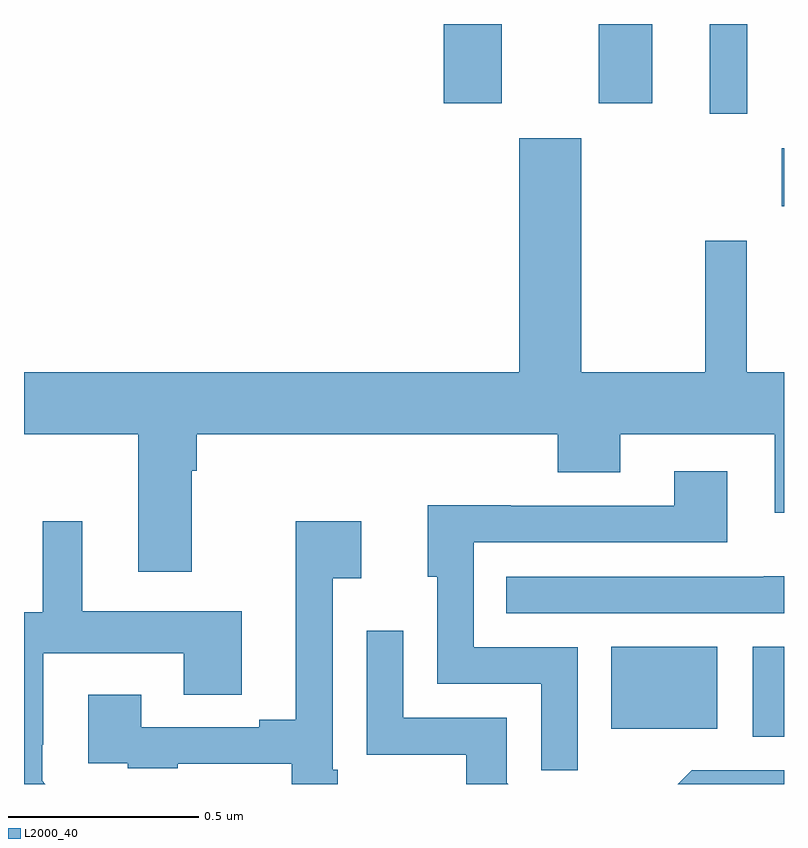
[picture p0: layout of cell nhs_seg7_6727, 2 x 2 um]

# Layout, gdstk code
import gdstk
lib = gdstk.Library(unit=1e-6, precision=1e-09)
def R(c, l, rs):  # rectangles x0, y0, x1, y1
    for r in rs: c.add(gdstk.rectangle(r[:2], r[2:], *l))
def P(c, l, *ps):  # polygons
    for p in ps: c.add(gdstk.Polygon(p, *l))
L2000_40 = (2000, 40)

nhs_seg7_6727 = lib.new_cell('nhs_seg7_6727')
R(nhs_seg7_6727, L2000_40, [(203.918,1029.125,204,1029.361), (203.546,1029.146,203.824,1029.361), (203.994,1030.52,204,1030.673), (203.804,1030.764,203.903,1031), (203.105,1030.791,203.257,1031), (203.513,1030.791,203.653,1031)])
P(nhs_seg7_6727, L2000_40, [(202.441,1029.824),(202.454,1029.824),(202.454,1029.92),(203.405,1029.92),(203.405,1029.821),(203.569,1029.821),(203.569,1029.92),(203.975,1029.92),(203.975,1029.714),(204,1029.714),(204,1030.084),(203.902,1030.084),(203.902,1030.429),(203.793,1030.429),(203.793,1030.084),(203.467,1030.084),(203.467,1030.699),(203.303,1030.699),(203.303,1030.084),(202,1030.084),(202,1029.92),(202.301,1029.92),(202.301,1029.558),(202.441,1029.558)],
  [(203.457,1029.36),(203.184,1029.36),(203.184,1029.636),(203.851,1029.636),(203.851,1029.823),(203.711,1029.823),(203.711,1029.732),(203.281,1029.732),(203.281,1029.734),(203.063,1029.734),(203.063,1029.546),(203.088,1029.546),(203.088,1029.264),(203.361,1029.264),(203.361,1029.036),(203.457,1029.036)],
  [(202.048,1029.008),(202.048,1029.103),(202.05,1029.103),(202.05,1029.344),(202.421,1029.344),(202.421,1029.235),(202.573,1029.235),(202.573,1029.454),(202.153,1029.454),(202.153,1029.691),(202.049,1029.691),(202.049,1029.452),(202,1029.452),(202,1029),(202.056,1029)],
  [(202.825,1029.037),(202.812,1029.037),(202.812,1029.542),(202.888,1029.542),(202.888,1029.691),(202.715,1029.691),(202.715,1029.169),(202.619,1029.169),(202.619,1029.15),(202.309,1029.15),(202.309,1029.235),(202.169,1029.235),(202.169,1029.054),(202.273,1029.054),(202.273,1029.042),(202.405,1029.042),(202.405,1029.053),(202.704,1029.053),(202.704,1029),(202.825,1029)],
  [(204,1029.547),(203.947,1029.547),(203.947,1029.546),(203.269,1029.546),(203.269,1029.45),(204,1029.45)],
  [(203.271,1029.003),(203.271,1029.174),(202.998,1029.174),(202.998,1029.403),(202.902,1029.403),(202.902,1029.077),(203.164,1029.077),(203.164,1029),(203.274,1029)],
  [(204,1029.036),(203.757,1029.036),(203.721,1029),(204,1029)])

lib.write_gds('nhs_seg7_6727.gds')
